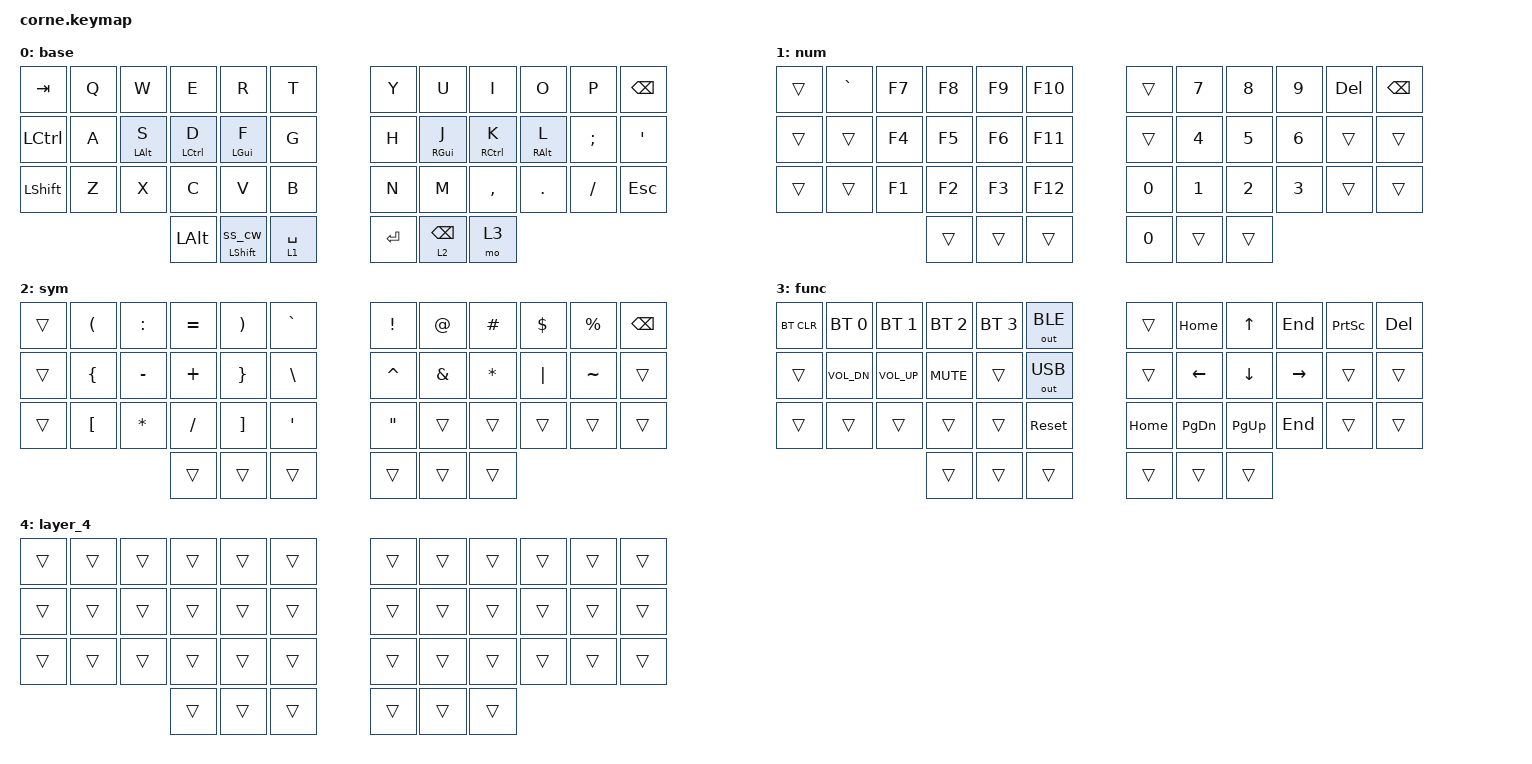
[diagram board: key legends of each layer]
#include <dt-bindings/led/led.h>
#include <dt-bindings/zmk/reset.h>
#include <behaviors.dtsi>
#include <dt-bindings/zmk/bt.h>
#include <dt-bindings/zmk/keys.h>
#include <dt-bindings/zmk/outputs.h>

&led_strip { chain-length = <27>; };

// ─── Key position map ────────────────────────────────────────────────────────
// Row 0:  0   1   2   3   4   5    6   7   8   9  10  11
// Row 1: 12  13  14  15  16  17   18  19  20  21  22  23
// Row 2: 24  25  26  27  28  29   30  31  32  33  34  35
// Row 3:             36  37  38   39  40  41

#define LKEYS 0 1 2 3 4 5 12 13 14 15 16 17 24 25 26 27 28 29 36 37 38
#define RKEYS 6 7 8 9 10 11 18 19 20 21 22 23 30 31 32 33 34 35 39 40 41

/ {
    behaviors {
        hml: homerow_mod_left {
            compatible = "zmk,behavior-hold-tap";
            #binding-cells = <2>;
            flavor = "balanced";
            tapping-term-ms = <200>;
            quick-tap-ms = <175>;
            require-prior-idle-ms = <150>;
            bindings = <&kp>, <&kp>;

            hold-trigger-key-positions = <RKEYS>;
            hold-trigger-on-release;
        };

        hmr: homerow_mod_right {
            compatible = "zmk,behavior-hold-tap";
            #binding-cells = <2>;
            flavor = "balanced";
            tapping-term-ms = <200>;
            quick-tap-ms = <175>;
            require-prior-idle-ms = <150>;
            bindings = <&kp>, <&kp>;

            hold-trigger-key-positions = <LKEYS>;
            hold-trigger-on-release;
        };

        ss_cw: shift_caps_word {
            compatible = "zmk,behavior-mod-morph";
            #binding-cells = <0>;
            bindings = <&sk LSHFT>, <&caps_word>;

            mods = <(MOD_LSFT|MOD_RSFT)>;
        };

        sft_cw: shift_capsword_ht {
            compatible = "zmk,behavior-hold-tap";
            #binding-cells = <2>;
            flavor = "balanced";
            tapping-term-ms = <200>;
            bindings = <&kp>, <&ss_cw>;
        };
    };

    combos {
        compatible = "zmk,combos";

        esc {
            bindings = <&kp ESC>;
            key-positions = <19 20>;
        };

        copy {
            bindings = <&kp LC(C)>;
            key-positions = <26 27>;
        };

        paste {
            bindings = <&kp LC(V)>;
            key-positions = <27 28>;
        };

        tab {
            bindings = <&kp TAB>;
            key-positions = <16 15>;
        };

        resetbootloader {
            bindings = <&bootloader>;
            key-positions = <3 4 5 6 7 8>;
        };
    };

    keymap {
        compatible = "zmk,keymap";

        base {
            bindings = <
&kp TAB    &kp Q  &kp W        &kp E         &kp R                 &kp T          &kp Y      &kp U            &kp I         &kp O        &kp P     &kp BSPC
&kp LCTRL  &kp A  &hml LALT S  &hml LCTRL D  &hml LGUI F           &kp G          &kp H      &hmr RGUI J      &hmr RCTRL K  &hmr RALT L  &kp SEMI  &kp SQT
&kp LSHFT  &kp Z  &kp X        &kp C         &kp V                 &kp B          &kp N      &kp M            &kp COMMA     &kp DOT      &kp FSLH  &kp ESCAPE
                               &kp LALT      &sft_cw LEFT_SHIFT 0  &lt 1 SPACE    &kp ENTER  &lt 2 BACKSPACE  &mo 3
            >;
        };

        num {
            bindings = <
&trans  &kp GRAVE  &kp F7  &kp F8  &kp F9  &kp F10    &trans  &kp N7  &kp N8  &kp N9  &kp DELETE  &kp BACKSPACE
&trans  &trans     &kp F4  &kp F5  &kp F6  &kp F11    &trans  &kp N4  &kp N5  &kp N6  &trans      &trans
&trans  &trans     &kp F1  &kp F2  &kp F3  &kp F12    &kp N0  &kp N1  &kp N2  &kp N3  &trans      &trans
                           &trans  &trans  &trans     &kp N0  &trans  &trans
            >;
        };

        sym {
            bindings = <
&trans  &kp LEFT_PARENTHESIS  &kp COLON     &kp EQUAL  &kp RIGHT_PARENTHESIS  &kp GRAVE        &kp EXCLAMATION    &kp AT_SIGN    &kp HASH      &kp DOLLAR  &kp PERCENT  &kp BACKSPACE
&trans  &kp LEFT_BRACE        &kp MINUS     &kp PLUS   &kp RIGHT_BRACE        &kp BACKSLASH    &kp CARET          &kp AMPERSAND  &kp ASTERISK  &kp PIPE    &kp TILDE    &trans
&trans  &kp LEFT_BRACKET      &kp ASTERISK  &kp SLASH  &kp RIGHT_BRACKET      &kp SQT          &kp DOUBLE_QUOTES  &trans         &trans        &trans      &trans       &trans
                                            &trans     &trans                 &trans           &trans             &trans         &trans
            >;
        };

        func {
            bindings = <
&bt BT_CLR  &bt BT_SEL 0  &bt BT_SEL 1     &bt BT_SEL 2  &bt BT_SEL 3  &out OUT_BLE    &trans    &kp HOME        &kp UP_ARROW    &kp END    &kp PRINTSCREEN  &kp DEL
&trans      &kp C_VOL_DN  &kp C_VOLUME_UP  &kp C_MUTE    &trans        &out OUT_USB    &trans    &kp LEFT_ARROW  &kp DOWN_ARROW  &kp RIGHT  &trans           &trans
&trans      &trans        &trans           &trans        &trans        &sys_reset      &kp HOME  &kp PAGE_DOWN   &kp PAGE_UP     &kp END    &trans           &trans
                                           &trans        &trans        &trans          &trans    &trans          &trans
            >;
        };

        layer_4 {
            bindings = <
&trans  &trans  &trans  &trans  &trans  &trans    &trans  &trans  &trans  &trans  &trans  &trans
&trans  &trans  &trans  &trans  &trans  &trans    &trans  &trans  &trans  &trans  &trans  &trans
&trans  &trans  &trans  &trans  &trans  &trans    &trans  &trans  &trans  &trans  &trans  &trans
                        &trans  &trans  &trans    &trans  &trans  &trans
            >;
        };
    };

    conditional_layers { compatible = "zmk,conditional-layers"; };
};
